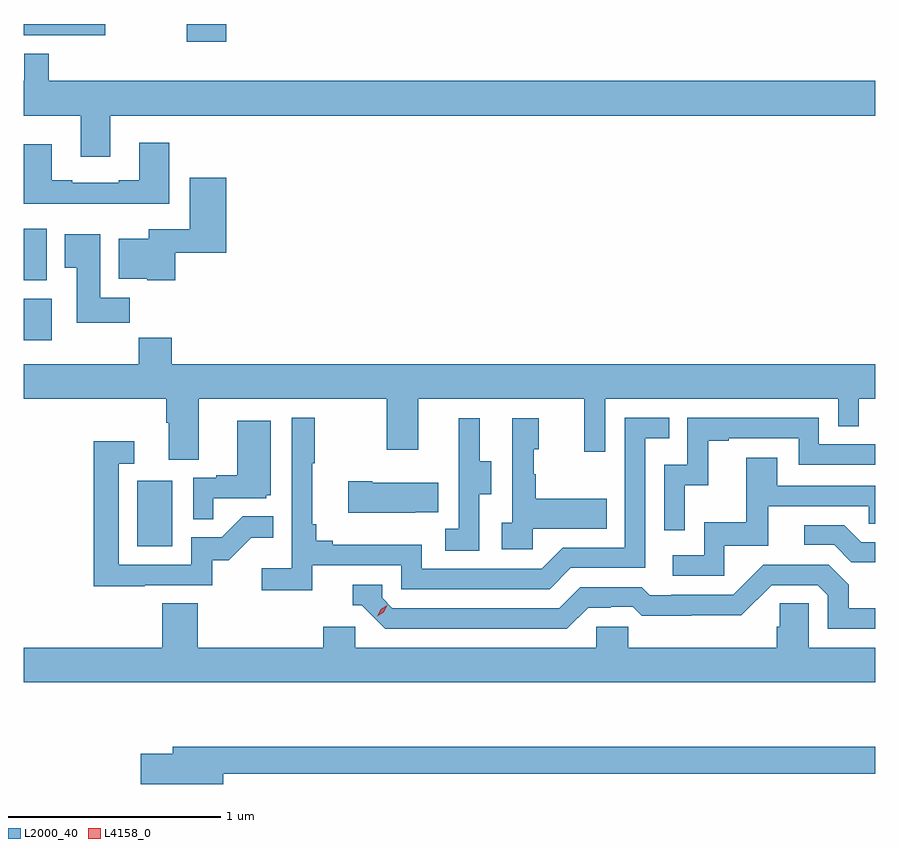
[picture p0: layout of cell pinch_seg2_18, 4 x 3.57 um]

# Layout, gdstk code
import gdstk
lib = gdstk.Library(unit=1e-6, precision=1e-09)
def R(c, l, rs):  # rectangles x0, y0, x1, y1
    for r in rs: c.add(gdstk.rectangle(r[:2], r[2:], *l))
def P(c, l, *ps):  # polygons
    for p in ps: c.add(gdstk.Polygon(p, *l))
L2000_40 = (2000, 40)
L4158_0 = (4158, 0)

pinch_seg2_18 = lib.new_cell('pinch_seg2_18')
R(pinch_seg2_18, L2000_40, [(1090.394,648.276,1090.558,648.583), (1089.86,649.244,1089.991,649.438), (1089.86,649.526,1089.967,649.768), (1090.625,650.646,1090.811,650.73), (1089.86,650.676,1090.243,650.73)])
P(pinch_seg2_18, L2000_40, [(1090.267,650.3),(1093.86,650.3),(1093.86,650.464),(1089.977,650.464),(1089.977,650.591),(1089.861,650.591),(1089.861,650.464),(1089.86,650.464),(1089.86,650.3),(1090.127,650.3),(1090.127,650.106),(1090.267,650.106)],
  [(1090.543,650.173),(1090.403,650.173),(1090.403,649.996),(1090.307,649.996),(1090.307,649.983),(1090.087,649.983),(1090.087,649.996),(1089.991,649.996),(1089.991,650.164),(1089.86,650.164),(1089.86,649.886),(1090.543,649.886)],
  [(1090.571,649.655),(1090.811,649.655),(1090.811,650.008),(1090.64,650.008),(1090.64,649.765),(1090.448,649.765),(1090.448,649.72),(1090.307,649.72),(1090.307,649.532),(1090.44,649.532),(1090.44,649.526),(1090.571,649.526)],
  [(1090.358,649.444),(1090.219,649.444),(1090.219,649.741),(1090.052,649.741),(1090.052,649.585),(1090.109,649.585),(1090.109,649.326),(1090.358,649.326)],
  [(1090.681,648.968),(1091.566,648.968),(1091.566,648.729),(1091.713,648.729),(1091.713,648.968),(1092.494,648.968),(1092.494,648.72),(1092.591,648.72),(1092.591,648.968),(1093.686,648.968),(1093.686,648.841),(1093.782,648.841),(1093.782,648.968),(1093.86,648.968),(1093.86,649.132),(1090.556,649.132),(1090.556,649.256),(1090.399,649.256),(1090.399,649.132),(1089.86,649.132),(1089.86,648.968),(1090.529,648.968),(1090.529,648.856),(1090.541,648.856),(1090.541,648.682),(1090.681,648.682)],
  [(1091.216,648.186),(1091.634,648.186),(1091.634,648.075),(1092.331,648.075),(1092.43,648.174),(1092.78,648.174),(1092.78,648.783),(1092.893,648.783),(1092.893,648.879),(1092.684,648.879),(1092.684,648.27),(1092.393,648.27),(1092.294,648.171),(1091.73,648.171),(1091.73,648.283),(1091.311,648.283),(1091.311,648.302),(1091.234,648.302),(1091.234,648.379),(1091.215,648.379),(1091.215,648.667),(1091.227,648.667),(1091.227,648.88),(1091.118,648.88),(1091.118,648.172),(1090.977,648.172),(1090.977,648.07),(1091.216,648.07)],
  [(1092.966,648.563),(1093.076,648.563),(1093.076,648.771),(1093.171,648.771),(1093.171,648.783),(1093.5,648.783),(1093.5,648.66),(1093.86,648.66),(1093.86,648.756),(1093.596,648.756),(1093.596,648.879),(1092.978,648.879),(1092.978,648.66),(1092.87,648.66),(1092.87,648.351),(1092.966,648.351)],
  [(1092,648.52),(1092.055,648.52),(1092.055,648.675),(1092.001,648.675),(1092.001,648.877),(1091.903,648.877),(1091.903,648.663),(1091.904,648.663),(1091.904,648.359),(1091.841,648.359),(1091.841,648.256),(1092,648.256)],
  [(1092.252,648.359),(1092.599,648.359),(1092.599,648.499),(1092.265,648.499),(1092.265,648.614),(1092.255,648.614),(1092.255,648.732),(1092.28,648.732),(1092.28,648.877),(1092.156,648.877),(1092.156,648.386),(1092.105,648.386),(1092.105,648.261),(1092.252,648.261)],
  [(1090.751,648.501),(1090.998,648.501),(1090.998,648.516),(1091.02,648.516),(1091.02,648.865),(1090.862,648.865),(1090.862,648.61),(1090.763,648.61),(1090.763,648.597),(1090.656,648.597),(1090.656,648.403),(1090.751,648.403)],
  [(1090.427,648.093),(1090.746,648.093),(1090.746,648.21),(1090.822,648.21),(1090.929,648.317),(1091.033,648.317),(1091.033,648.416),(1090.889,648.416),(1090.791,648.318),(1090.647,648.318),(1090.647,648.189),(1090.305,648.189),(1090.305,648.663),(1090.378,648.663),(1090.378,648.769),(1090.189,648.769),(1090.189,648.088),(1090.427,648.088)],
  [(1093.152,648.279),(1093.357,648.279),(1093.357,648.465),(1093.831,648.465),(1093.831,648.381),(1093.86,648.381),(1093.86,648.561),(1093.399,648.561),(1093.399,648.691),(1093.255,648.691),(1093.255,648.388),(1093.056,648.388),(1093.056,648.234),(1092.909,648.234),(1092.909,648.138),(1093.152,648.138)],
  [(1091.699,648.437),(1091.807,648.437),(1091.807,648.574),(1091.497,648.574),(1091.497,648.582),(1091.385,648.582),(1091.385,648.434),(1091.699,648.434)],
  [(1093.86,648.294),(1093.795,648.294),(1093.714,648.375),(1093.527,648.375),(1093.527,648.282),(1093.668,648.282),(1093.748,648.202),(1093.86,648.202)],
  [(1092.511,647.988),(1092.618,647.988),(1092.618,647.991),(1092.721,647.991),(1092.763,647.949),(1092.996,647.949),(1092.996,647.951),(1093.232,647.951),(1093.374,648.093),(1093.59,648.093),(1093.638,648.045),(1093.638,647.889),(1093.86,647.889),(1093.86,647.985),(1093.735,647.985),(1093.735,648.095),(1093.641,648.189),(1093.335,648.189),(1093.194,648.048),(1092.901,648.048),(1092.901,648.045),(1092.802,648.045),(1092.763,648.084),(1092.474,648.084),(1092.375,647.985),(1091.592,647.985),(1091.544,648.033),(1091.544,648.096),(1091.405,648.096),(1091.405,648),(1091.448,648),(1091.559,647.889),(1092.412,647.889)],
  [(1093.86,647.8),(1093.548,647.8),(1093.548,648.008),(1093.411,648.008),(1093.411,647.898),(1093.397,647.898),(1093.397,647.8),(1092.699,647.8),(1092.699,647.898),(1092.549,647.898),(1092.549,647.8),(1091.418,647.8),(1091.418,647.898),(1091.267,647.898),(1091.267,647.8),(1090.676,647.8),(1090.676,648.008),(1090.511,648.008),(1090.511,647.8),(1089.86,647.8),(1089.86,647.636),(1093.86,647.636)],
  [(1090.798,647.206),(1093.86,647.206),(1093.86,647.335),(1090.559,647.335),(1090.559,647.301),(1090.41,647.301),(1090.41,647.159),(1090.798,647.159)])
P(pinch_seg2_18, L4158_0, [(1091.52,647.947),(1091.52,647.947),(1091.537,647.98),(1091.568,647.999),(1091.568,647.999),(1091.568,647.999),(1091.552,647.966),(1091.521,647.947)])

lib.write_gds('pinch_seg2_18.gds')
